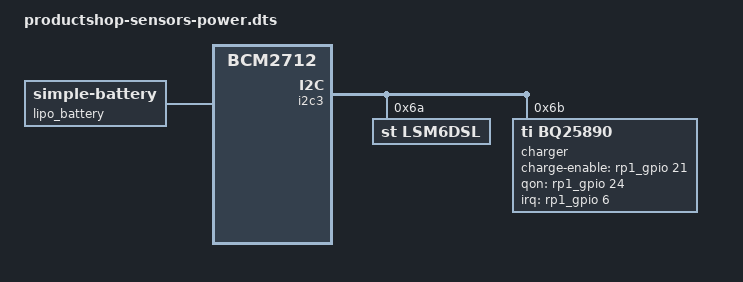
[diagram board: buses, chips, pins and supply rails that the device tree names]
/dts-v1/;
/plugin/;

/{
    compatible = "brcm,bcm2712";

    // Battery Definition
    lipo_battery: battery {
        compatible = "simple-battery";
        voltage-min-design-microvolt = <3000000>;
        voltage-max-design-microvolt = <4200000>;
        energy-full-design-microwatt-hours = <37000000>;
        charge-full-design-microamp-hours = <10000000>;
    };

    // GPIO pins for I2C devices
    fragment@0 {
        target = <&rp1_gpio>;
        __overlay__ {
            pmic_pins: pmic_pins {
                pins = "gpio6", "gpio14", "gpio21", "gpio24";
                function = "gpio";
                bias-pull-up;
            };
        };
    };

    // I2C3 for IMU and power management
    fragment@1 {
        target = <&i2c3>;
        __overlay__ {
            #address-cells = <1>;
            #size-cells = <0>;
            pinctrl-0 = <&rp1_i2c3_22_23>;
            status = "okay";
            
            lsm6dsl@6a {
                compatible = "st,lsm6dsl";
                reg = <0x6a>;
                status = "okay";
            };
            
            charger@6b {
                compatible = "ti,bq25890";
                reg = <0x6b>;
                pinctrl-names = "default";
                pinctrl-0 = <&pmic_pins>;
                interrupt-parent = <&rp1_gpio>;
                interrupts = <6 8>; /* GPIO6, IRQ_TYPE_LEVEL_LOW */
                ti,battery-regulation-voltage = <4200000>;
                ti,charge-current = <2000000>;
                ti,termination-current = <128000>;
                ti,precharge-current = <128000>;
                ti,minimum-sys-voltage = <3000000>;
                ti,boost-voltage = <5126000>;
                ti,boost-max-current = <1400000>;
                ti,input-current-limit = <2000000>;
                charge-enable-gpios = <&rp1_gpio 21 0>;
                qon-gpios = <&rp1_gpio 24 0>;
                monitored-battery = <&lipo_battery>;
                status = "okay";
            };
        };
    };
};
